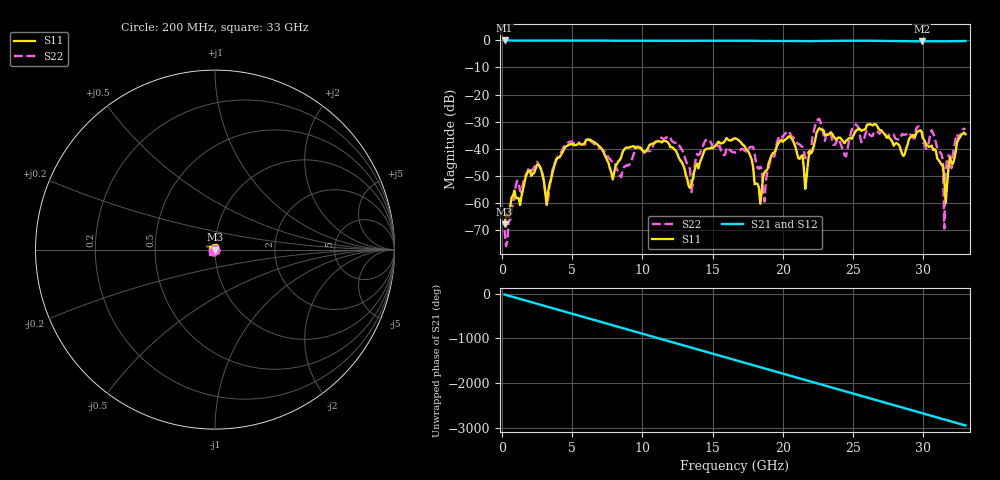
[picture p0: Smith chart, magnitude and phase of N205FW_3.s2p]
# GHZ S RI R 50
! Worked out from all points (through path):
!   329 points, 200 MHz to 33 GHz, reference 50 ohm
!   highest |S21| = -0.03 dB at 200 MHz (marker M1); lowest = -0.4 dB at 29.9 GHz (marker M2)
!   group delay of S21, straight-line fit = 248 ps
!   lowest |S11| = -67.9 dB at 200 MHz (marker M3), VSWR 1.00, Z = 50 + j0.0202 ohm
!   |S11| at or under -10 dB: start of sweep to end of sweep
!   |S22| runs from -75.9 to -28.9 dB; largest |S21 - S12| = 0.0022
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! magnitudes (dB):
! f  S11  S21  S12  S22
! 200 MHz  -67.9  0.0  0.0  -70.0
! 1.1 GHz  -58.2  -0.1  -0.1  -51.8
! 2.6 GHz  -45.8  -0.1  -0.1  -45.5
! 3.2 GHz  -60.5  -0.1  -0.1  -60.9
! 3.9 GHz  -43.8  -0.1  -0.1  -43.4
! 5.7 GHz  -38.4  -0.1  -0.1  -38.4
! 7.9 GHz  -51.3  -0.1  -0.1  -44.9
! 11.2 GHz  -37.3  -0.2  -0.2  -36.2
! 13.4 GHz  -54.4  -0.2  -0.2  -47.6
! 16.6 GHz  -36.1  -0.1  -0.1  -41.4
! 18.4 GHz  -60.2  -0.2  -0.2  -46.6
! 18.7 GHz  -48.7  -0.2  -0.2  -59.5
! 19.8 GHz  -37.1  -0.3  -0.3  -35.2
! 21.4 GHz  -42.3  -0.3  -0.3  -39.3
! 21.6 GHz  -54.7  -0.3  -0.3  -43.5
! 22.1 GHz  -40.9  -0.3  -0.3  -36.1
! 27.6 GHz  -36.0  -0.2  -0.2  -34.6
! 29.9 GHz  -33.9  -0.4  -0.4  -34.2
! 31.4 GHz  -46.2  -0.3  -0.3  -44.2
! 31.5 GHz  -51.4  -0.3  -0.3  -69.4
! 31.7 GHz  -53.0  -0.3  -0.3  -43.9
! 33 GHz  -34.6  -0.2  -0.2  -32.8
